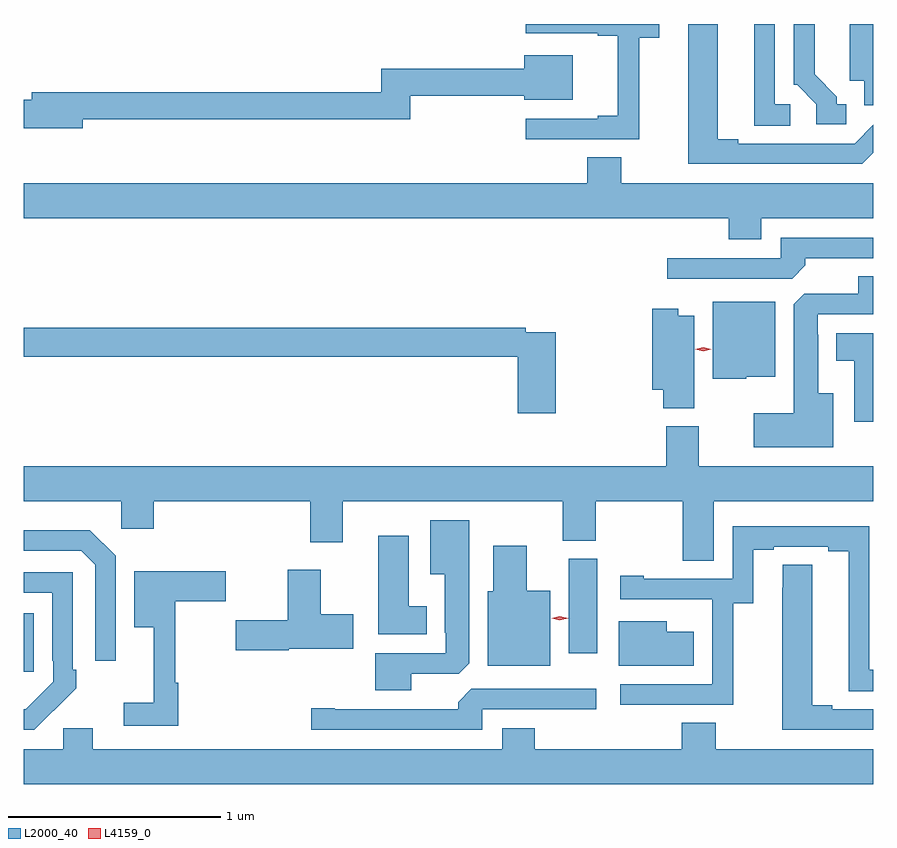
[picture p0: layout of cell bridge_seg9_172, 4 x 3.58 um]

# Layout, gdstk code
import gdstk
lib = gdstk.Library(unit=1e-6, precision=1e-09)
def R(c, l, rs):  # rectangles x0, y0, x1, y1
    for r in rs: c.add(gdstk.rectangle(r[:2], r[2:], *l))
def P(c, l, *ps):  # polygons
    for p in ps: c.add(gdstk.Polygon(p, *l))
L2000_40 = (2000, 40)
L4159_0 = (4159, 0)

bridge_seg9_172 = lib.new_cell('bridge_seg9_172')
R(bridge_seg9_172, L2000_40, [(183.873,1235.577,183.919,1235.851), (186.44,1235.664,186.574,1236.108)])
P(bridge_seg9_172, L2000_40, [(187.483,1238.25),(187.41,1238.25),(187.41,1238.627),(187.313,1238.627),(187.313,1238.149),(187.483,1238.149)],
  [(186.771,1238.563),(186.865,1238.563),(186.865,1238.627),(186.237,1238.627),(186.237,1238.583),(186.575,1238.583),(186.575,1238.571),(186.671,1238.571),(186.671,1238.194),(186.575,1238.194),(186.575,1238.181),(186.237,1238.181),(186.237,1238.085),(186.771,1238.085)],
  [(187.873,1238.627),(187.763,1238.627),(187.763,1238.36),(187.832,1238.36),(187.832,1238.245),(187.873,1238.245)],
  [(187.747,1238.25),(187.702,1238.25),(187.702,1238.285),(187.597,1238.39),(187.597,1238.627),(187.5,1238.627),(187.5,1238.34),(187.515,1238.34),(187.605,1238.25),(187.605,1238.154),(187.747,1238.154)],
  [(187.873,1238.02),(187.873,1238.152),(187.785,1238.064),(187.237,1238.064),(187.237,1238.084),(187.141,1238.084),(187.141,1238.627),(187.001,1238.627),(187.001,1237.968),(187.821,1237.968)],
  [(184.15,1238.178),(185.693,1238.178),(185.693,1238.289),(186.23,1238.289),(186.23,1238.27),(186.457,1238.27),(186.457,1238.479),(186.23,1238.479),(186.23,1238.417),(185.557,1238.417),(185.557,1238.306),(183.911,1238.306),(183.911,1238.27),(183.873,1238.27),(183.873,1238.135),(184.15,1238.135)],
  [(187.345,1237.712),(187.873,1237.712),(187.873,1237.876),(186.687,1237.876),(186.687,1238),(186.527,1238),(186.527,1237.876),(183.873,1237.876),(183.873,1237.712),(187.193,1237.712),(187.193,1237.613),(187.345,1237.613)],
  [(187.553,1237.49),(187.553,1237.524),(187.873,1237.524),(187.873,1237.62),(187.437,1237.62),(187.437,1237.524),(186.903,1237.524),(186.903,1237.428),(187.491,1237.428)],
  [(187.684,1236.889),(187.615,1236.889),(187.615,1237.163),(187.611,1237.163),(187.611,1237.26),(187.873,1237.26),(187.873,1237.439),(187.802,1237.439),(187.802,1237.356),(187.548,1237.356),(187.499,1237.307),(187.499,1236.793),(187.311,1236.793),(187.311,1236.635),(187.684,1236.635)],
  [(187.275,1236.965),(187.411,1236.965),(187.411,1237.318),(187.118,1237.318),(187.118,1236.956),(187.275,1236.956)],
  [(187.03,1237.252),(186.955,1237.252),(186.955,1237.285),(186.833,1237.285),(186.833,1236.905),(186.884,1236.905),(186.884,1236.817),(187.03,1236.817)],
  [(186.378,1237.176),(186.236,1237.176),(186.236,1237.196),(183.873,1237.196),(183.873,1237.06),(186.2,1237.06),(186.2,1236.795),(186.378,1236.795)],
  [(187.873,1237.171),(187.7,1237.171),(187.7,1237.04),(187.784,1237.04),(187.784,1236.753),(187.873,1236.753)],
  [(187.123,1236.38),(187.873,1236.38),(187.873,1236.544),(187.051,1236.544),(187.051,1236.732),(186.899,1236.732),(186.899,1236.544),(183.873,1236.544),(183.873,1236.38),(184.332,1236.38),(184.332,1236.249),(184.484,1236.249),(184.484,1236.38),(185.222,1236.38),(185.222,1236.186),(185.374,1236.186),(185.374,1236.38),(186.412,1236.38),(186.412,1236.193),(186.567,1236.193),(186.567,1236.38),(186.976,1236.38),(186.976,1236.1),(187.123,1236.1)],
  [(185.698,1235.568),(185.922,1235.568),(185.971,1235.617),(185.971,1236.289),(185.786,1236.289),(185.786,1236.035),(185.855,1236.035),(185.855,1235.761),(185.859,1235.761),(185.859,1235.664),(185.528,1235.664),(185.528,1235.489),(185.698,1235.489)],
  [(187.215,1235.899),(187.309,1235.899),(187.309,1236.15),(187.405,1236.15),(187.405,1236.165),(187.661,1236.165),(187.661,1236.145),(187.757,1236.145),(187.757,1235.485),(187.873,1235.485),(187.873,1235.586),(187.854,1235.586),(187.854,1236.261),(187.212,1236.261),(187.212,1236.015),(186.793,1236.015),(186.793,1236.028),(186.681,1236.028),(186.681,1235.919),(187.115,1235.919),(187.115,1235.918),(187.116,1235.918),(187.116,1235.517),(186.681,1235.517),(186.681,1235.421),(187.215,1235.421)],
  [(184.305,1236.123),(184.184,1236.244),(183.873,1236.244),(183.873,1236.147),(184.143,1236.147),(184.209,1236.081),(184.209,1235.628),(184.305,1235.628)],
  [(185.77,1235.884),(185.686,1235.884),(185.686,1236.217),(185.543,1236.217),(185.543,1235.753),(185.77,1235.753)],
  [(186.352,1235.959),(186.241,1235.959),(186.241,1236.169),(186.083,1236.169),(186.083,1235.955),(186.059,1235.955),(186.059,1235.606),(186.352,1235.606)],
  [(187.873,1235.4),(187.681,1235.4),(187.681,1235.42),(187.585,1235.42),(187.585,1236.08),(187.446,1236.08),(187.446,1235.972),(187.445,1235.972),(187.445,1235.304),(187.873,1235.304)],
  [(185.121,1235.684),(185.425,1235.684),(185.425,1235.847),(185.272,1235.847),(185.272,1236.058),(185.117,1236.058),(185.117,1235.819),(184.872,1235.819),(184.872,1235.677),(185.121,1235.677)],
  [(184.601,1235.525),(184.586,1235.525),(184.586,1235.909),(184.825,1235.909),(184.825,1236.051),(184.394,1236.051),(184.394,1235.786),(184.484,1235.786),(184.484,1235.431),(184.344,1235.431),(184.344,1235.322),(184.601,1235.322)],
  [(184.013,1235.395),(184.014,1235.394),(184.119,1235.499),(184.119,1235.587),(184.104,1235.587),(184.104,1236.045),(183.873,1236.045),(183.873,1235.949),(184.008,1235.949),(184.008,1235.629),(184.011,1235.629),(184.011,1235.529),(183.883,1235.401),(183.873,1235.401),(183.873,1235.304),(183.922,1235.304)],
  [(187.027,1235.764),(186.901,1235.764),(186.901,1235.815),(186.674,1235.815),(186.674,1235.606),(187.027,1235.606)],
  [(186.033,1235.4),(186.568,1235.4),(186.568,1235.496),(185.979,1235.496),(185.918,1235.434),(185.918,1235.4),(185.338,1235.4),(185.338,1235.405),(185.226,1235.405),(185.226,1235.304),(186.033,1235.304)],
  [(187.873,1235.212),(187.131,1235.212),(187.131,1235.336),(186.971,1235.336),(186.971,1235.212),(186.278,1235.212),(186.278,1235.311),(186.125,1235.311),(186.125,1235.212),(184.198,1235.212),(184.198,1235.31),(184.059,1235.31),(184.059,1235.212),(183.873,1235.212),(183.873,1235.048),(187.873,1235.048)])
P(bridge_seg9_172, L4159_0, [(187.073,1237.085),(187.036,1237.095),(187.036,1237.095),(187.036,1237.095),(187.073,1237.105),(187.111,1237.095),(187.111,1237.095),(187.111,1237.095)],
  [(186.398,1235.819),(186.359,1235.829),(186.358,1235.829),(186.359,1235.829),(186.398,1235.839),(186.438,1235.829),(186.438,1235.829),(186.438,1235.828)])

lib.write_gds('bridge_seg9_172.gds')
